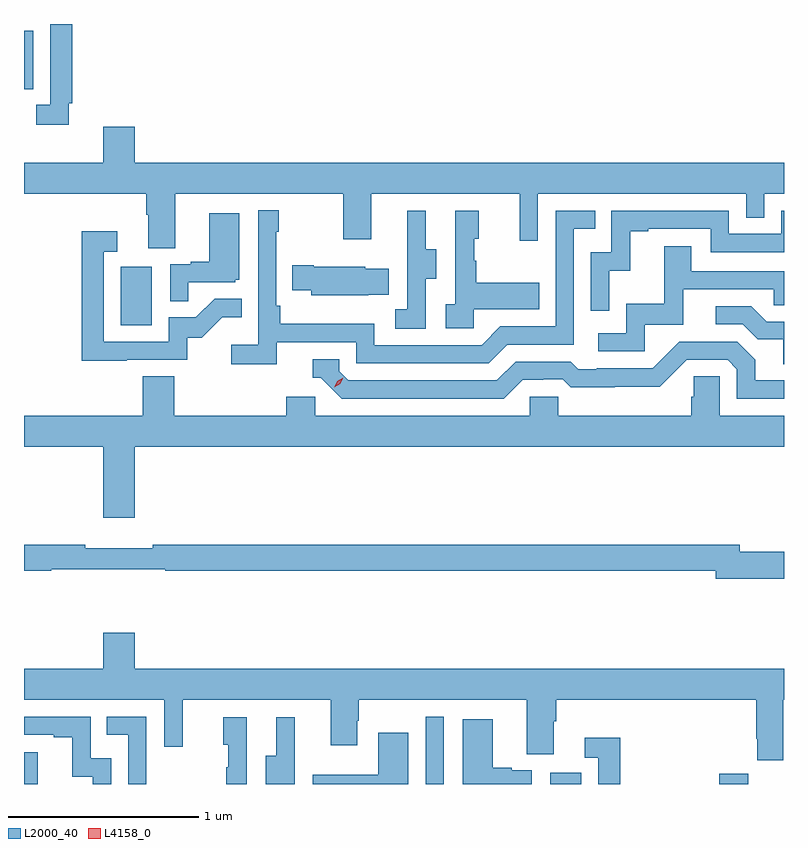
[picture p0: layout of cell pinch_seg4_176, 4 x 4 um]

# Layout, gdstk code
import gdstk
lib = gdstk.Library(unit=1e-6, precision=1e-09)
def R(c, l, rs):  # rectangles x0, y0, x1, y1
    for r in rs: c.add(gdstk.rectangle(r[:2], r[2:], *l))
def P(c, l, *ps):  # polygons
    for p in ps: c.add(gdstk.Polygon(p, *l))
L2000_40 = (2000, 40)
L4158_0 = (4158, 0)

pinch_seg4_176 = lib.new_cell('pinch_seg4_176')
R(pinch_seg4_176, L2000_40, [(1111.642,797.709,1111.715,797.875), (1113.756,797.709,1113.852,798.064), (1114.412,797.709,1114.576,797.767), (1115.3,797.709,1115.455,797.764), (1112.15,800.124,1112.314,800.431), (1111.642,801.366,1111.69,801.673)])
P(pinch_seg4_176, L2000_40, [(1111.877,801.292),(1111.895,801.292),(1111.895,801.709),(1111.779,801.709),(1111.779,801.285),(1111.707,801.285),(1111.707,801.18),(1111.877,801.18)],
  [(1112.437,800.816),(1113.322,800.816),(1113.322,800.577),(1113.469,800.577),(1113.469,800.816),(1114.25,800.816),(1114.25,800.568),(1114.347,800.568),(1114.347,800.816),(1115.442,800.816),(1115.442,800.689),(1115.538,800.689),(1115.538,800.816),(1115.642,800.816),(1115.642,800.98),(1112.224,800.98),(1112.224,801.169),(1112.06,801.169),(1112.06,800.98),(1111.642,800.98),(1111.642,800.816),(1112.285,800.816),(1112.285,800.704),(1112.297,800.704),(1112.297,800.53),(1112.437,800.53)],
  [(1112.972,800.034),(1113.39,800.034),(1113.39,799.923),(1114.087,799.923),(1114.186,800.022),(1114.536,800.022),(1114.536,800.631),(1114.649,800.631),(1114.649,800.727),(1114.44,800.727),(1114.44,800.118),(1114.149,800.118),(1114.05,800.019),(1113.486,800.019),(1113.486,800.131),(1112.99,800.131),(1112.99,800.227),(1112.97,800.227),(1112.97,800.615),(1112.983,800.615),(1112.983,800.728),(1112.874,800.728),(1112.874,800.02),(1112.733,800.02),(1112.733,799.918),(1112.972,799.918)],
  [(1114.722,800.411),(1114.832,800.411),(1114.832,800.619),(1114.927,800.619),(1114.927,800.631),(1115.256,800.631),(1115.256,800.508),(1115.642,800.508),(1115.642,800.727),(1115.628,800.727),(1115.628,800.604),(1115.352,800.604),(1115.352,800.727),(1114.734,800.727),(1114.734,800.508),(1114.626,800.508),(1114.626,800.199),(1114.722,800.199)],
  [(1113.756,800.368),(1113.811,800.368),(1113.811,800.523),(1113.757,800.523),(1113.757,800.725),(1113.659,800.725),(1113.659,800.511),(1113.66,800.511),(1113.66,800.207),(1113.597,800.207),(1113.597,800.104),(1113.756,800.104)],
  [(1114.008,800.207),(1114.355,800.207),(1114.355,800.347),(1114.021,800.347),(1114.021,800.462),(1114.011,800.462),(1114.011,800.58),(1114.036,800.58),(1114.036,800.725),(1113.912,800.725),(1113.912,800.234),(1113.861,800.234),(1113.861,800.109),(1114.008,800.109)],
  [(1112.507,800.349),(1112.754,800.349),(1112.754,800.364),(1112.776,800.364),(1112.776,800.713),(1112.618,800.713),(1112.618,800.458),(1112.519,800.458),(1112.519,800.445),(1112.412,800.445),(1112.412,800.251),(1112.507,800.251)],
  [(1112.183,799.941),(1112.502,799.941),(1112.502,800.058),(1112.578,800.058),(1112.685,800.165),(1112.789,800.165),(1112.789,800.264),(1112.645,800.264),(1112.547,800.166),(1112.403,800.166),(1112.403,800.037),(1112.061,800.037),(1112.061,800.511),(1112.134,800.511),(1112.134,800.617),(1111.945,800.617),(1111.945,799.936),(1112.183,799.936)],
  [(1114.908,800.127),(1115.113,800.127),(1115.113,800.313),(1115.587,800.313),(1115.587,800.229),(1115.642,800.229),(1115.642,800.409),(1115.155,800.409),(1115.155,800.539),(1115.011,800.539),(1115.011,800.236),(1114.812,800.236),(1114.812,800.082),(1114.665,800.082),(1114.665,799.986),(1114.908,799.986)],
  [(1113.455,800.285),(1113.563,800.285),(1113.563,800.422),(1113.438,800.422),(1113.438,800.431),(1113.166,800.431),(1113.166,800.439),(1113.055,800.439),(1113.055,800.309),(1113.153,800.309),(1113.153,800.282),(1113.455,800.282)],
  [(1115.642,800.142),(1115.551,800.142),(1115.47,800.223),(1115.283,800.223),(1115.283,800.13),(1115.424,800.13),(1115.504,800.05),(1115.639,800.05),(1115.639,799.918),(1115.642,799.918)],
  [(1114.267,799.836),(1114.374,799.836),(1114.374,799.839),(1114.477,799.839),(1114.519,799.797),(1114.752,799.797),(1114.752,799.799),(1114.988,799.799),(1115.13,799.941),(1115.346,799.941),(1115.394,799.893),(1115.394,799.737),(1115.642,799.737),(1115.642,799.833),(1115.491,799.833),(1115.491,799.943),(1115.397,800.037),(1115.091,800.037),(1114.95,799.896),(1114.657,799.896),(1114.657,799.893),(1114.558,799.893),(1114.519,799.932),(1114.23,799.932),(1114.131,799.833),(1113.348,799.833),(1113.3,799.881),(1113.3,799.944),(1113.161,799.944),(1113.161,799.848),(1113.204,799.848),(1113.315,799.737),(1114.168,799.737)],
  [(1112.224,799.484),(1115.642,799.484),(1115.642,799.648),(1115.304,799.648),(1115.304,799.856),(1115.167,799.856),(1115.167,799.746),(1115.153,799.746),(1115.153,799.648),(1114.455,799.648),(1114.455,799.746),(1114.305,799.746),(1114.305,799.648),(1113.174,799.648),(1113.174,799.746),(1113.023,799.746),(1113.023,799.648),(1112.432,799.648),(1112.432,799.856),(1112.267,799.856),(1112.267,799.648),(1111.642,799.648),(1111.642,799.484),(1112.06,799.484),(1112.06,799.11),(1112.224,799.11)],
  [(1115.642,798.932),(1115.41,798.932),(1115.41,798.968),(1112.32,798.968),(1112.32,798.949),(1111.964,798.949),(1111.964,798.968),(1111.642,798.968),(1111.642,798.832),(1111.786,798.832),(1111.786,798.84),(1112.386,798.84),(1112.386,798.832),(1115.282,798.832),(1115.282,798.79),(1115.642,798.79)],
  [(1115.638,798.152),(1115.642,798.152),(1115.642,798.316),(1112.224,798.316),(1112.224,798.505),(1112.06,798.505),(1112.06,798.316),(1111.642,798.316),(1111.642,798.152),(1112.379,798.152),(1112.379,797.904),(1112.477,797.904),(1112.477,798.152),(1113.257,798.152),(1113.257,797.913),(1113.397,797.913),(1113.397,798.041),(1113.405,798.041),(1113.405,798.152),(1114.289,798.152),(1114.289,797.866),(1114.429,797.866),(1114.429,798.04),(1114.442,798.04),(1114.442,798.152),(1115.495,798.152),(1115.495,797.947),(1115.501,797.947),(1115.501,797.835),(1115.638,797.835)],
  [(1112.1,797.844),(1111.992,797.844),(1111.992,798.063),(1111.642,798.063),(1111.642,797.967),(1111.799,797.967),(1111.799,797.955),(1111.895,797.955),(1111.895,797.747),(1112.004,797.747),(1112.004,797.709),(1112.1,797.709)],
  [(1112.286,798.063),(1112.077,798.063),(1112.077,797.967),(1112.19,797.967),(1112.19,797.709),(1112.286,797.709)],
  [(1113.066,797.847),(1113.068,797.847),(1113.068,798.061),(1112.969,798.061),(1112.969,797.859),(1112.915,797.859),(1112.915,797.709),(1113.066,797.709)],
  [(1112.814,798.061),(1112.69,798.061),(1112.69,797.916),(1112.716,797.916),(1112.716,797.798),(1112.706,797.798),(1112.706,797.709),(1112.814,797.709)],
  [(1114.314,797.781),(1114.208,797.781),(1114.208,797.794),(1114.108,797.794),(1114.108,798.049),(1113.95,798.049),(1113.95,797.709),(1114.314,797.709)],
  [(1113.664,797.98),(1113.506,797.98),(1113.506,797.758),(1113.163,797.758),(1113.163,797.709),(1113.664,797.709)],
  [(1114.781,797.953),(1114.593,797.953),(1114.593,797.847),(1114.665,797.847),(1114.665,797.709),(1114.781,797.709)])
P(pinch_seg4_176, L4158_0, [(1113.276,799.796),(1113.276,799.797),(1113.291,799.829),(1113.322,799.848),(1113.322,799.848),(1113.322,799.848),(1113.306,799.816),(1113.276,799.796)])

lib.write_gds('pinch_seg4_176.gds')
